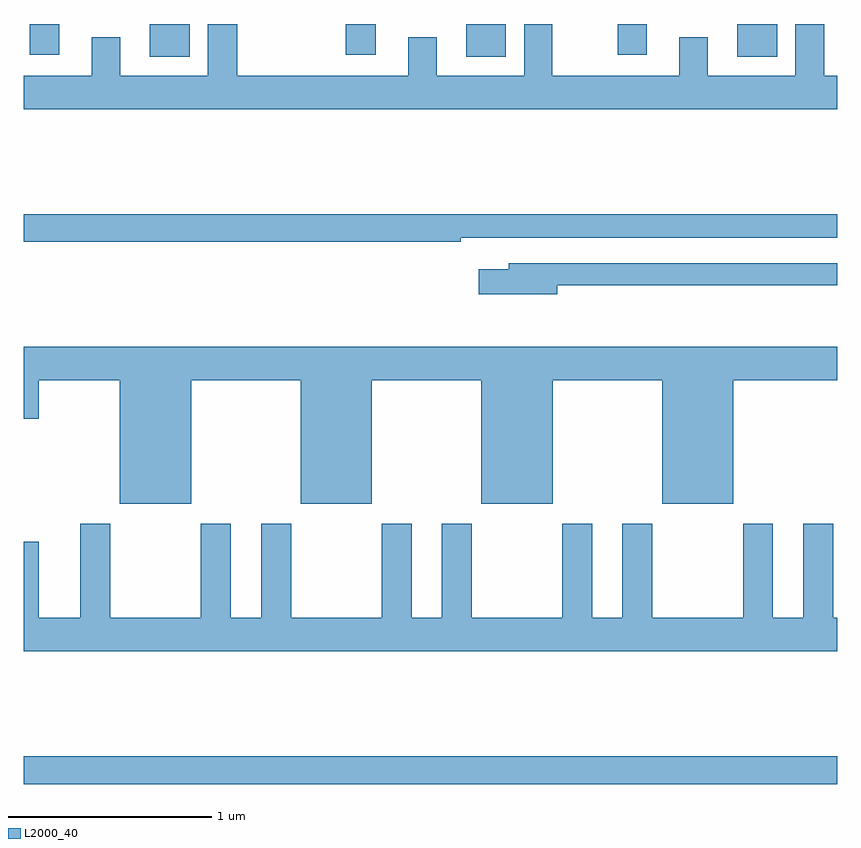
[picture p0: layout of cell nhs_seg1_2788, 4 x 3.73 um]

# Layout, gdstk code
import gdstk
lib = gdstk.Library(unit=1e-6, precision=1e-09)
def R(c, l, rs):  # rectangles x0, y0, x1, y1
    for r in rs: c.add(gdstk.rectangle(r[:2], r[2:], *l))
def P(c, l, *ps):  # polygons
    for p in ps: c.add(gdstk.Polygon(p, *l))
L2000_40 = (2000, 40)

nhs_seg1_2788 = lib.new_cell('nhs_seg1_2788')
R(nhs_seg1_2788, L2000_40, [(263,500.464,267,500.6), (263.621,504.038,263.817,504.199), (265.175,504.038,265.371,504.199), (266.507,504.038,266.703,504.199), (263.03,504.048,263.176,504.199), (264.584,504.048,264.73,504.199), (265.921,504.048,266.062,504.199)])
P(nhs_seg1_2788, L2000_40, [(267,503.944),(266.936,503.944),(266.936,504.199),(266.792,504.199),(266.792,503.944),(266.362,503.944),(266.362,504.134),(266.222,504.134),(266.222,503.944),(265.599,503.944),(265.599,504.199),(265.46,504.199),(265.46,503.944),(265.03,503.944),(265.03,504.134),(264.89,504.134),(264.89,503.944),(264.05,503.944),(264.05,504.199),(263.906,504.199),(263.906,503.944),(263.476,503.944),(263.476,504.134),(263.336,504.134),(263.336,503.944),(263,503.944),(263,503.78),(267,503.78)],
  [(265.148,503.148),(267,503.148),(267,503.264),(263,503.264),(263,503.128),(265.148,503.128)],
  [(265.624,502.914),(267,502.914),(267,503.022),(265.385,503.022),(265.385,502.993),(265.236,502.993),(265.236,502.871),(265.624,502.871)],
  [(263.824,502.448),(264.362,502.448),(264.362,501.842),(264.712,501.842),(264.712,502.448),(265.25,502.448),(265.25,501.842),(265.6,501.842),(265.6,502.448),(266.138,502.448),(266.138,501.842),(266.488,501.842),(266.488,502.448),(267,502.448),(267,502.612),(263,502.612),(263,502.26),(263.074,502.26),(263.074,502.448),(263.474,502.448),(263.474,501.842),(263.824,501.842)],
  [(267,501.28),(266.979,501.28),(266.979,501.742),(266.831,501.742),(266.831,501.28),(266.683,501.28),(266.683,501.742),(266.536,501.742),(266.536,501.28),(266.091,501.28),(266.091,501.742),(265.943,501.742),(265.943,501.28),(265.795,501.28),(265.795,501.742),(265.648,501.742),(265.648,501.28),(265.203,501.28),(265.203,501.742),(265.055,501.742),(265.055,501.28),(264.907,501.28),(264.907,501.742),(264.76,501.742),(264.76,501.28),(264.315,501.28),(264.315,501.742),(264.167,501.742),(264.167,501.28),(264.019,501.28),(264.019,501.742),(263.872,501.742),(263.872,501.28),(263.427,501.28),(263.427,501.742),(263.279,501.742),(263.279,501.28),(263.074,501.28),(263.074,501.655),(263,501.655),(263,501.116),(267,501.116)])

lib.write_gds('nhs_seg1_2788.gds')
